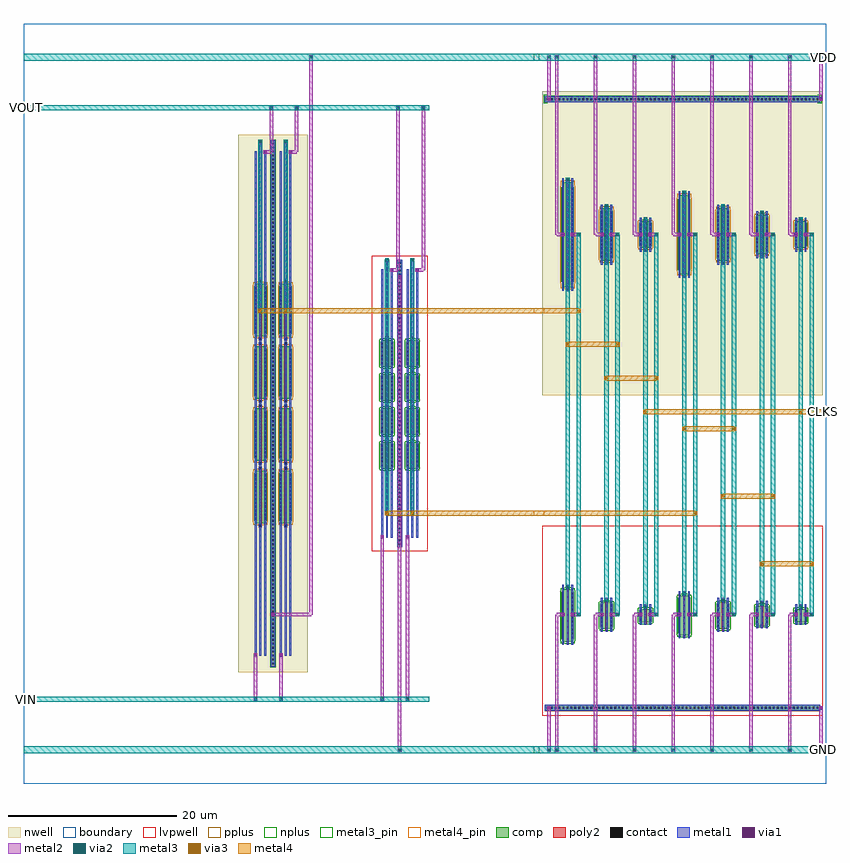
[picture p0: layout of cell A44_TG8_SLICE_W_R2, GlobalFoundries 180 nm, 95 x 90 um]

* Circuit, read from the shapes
.subckt A44_TG8_SLICE_W_R2 CLKS GND VDD VIN VOUT
XM1 VOUT A44_TG8_CLOCK_LEAF_W_R2_1/N_CLK VIN GND nfet_03v3 w=3.11u l=0.28u m=8
XM2 A44_TG8_CLOCK_LEAF_W_R2_1/P_CLK A44_TG8_CLOCK_LEAF_W_R2_1/net5 GND GND nfet_03v3 w=6.22u l=0.28u
XM3 A44_TG8_CLOCK_LEAF_W_R2_1/net5 A44_TG8_CLOCK_LEAF_W_R2_1/net4 GND GND nfet_03v3 w=3.11u l=0.28u
XM4 A44_TG8_CLOCK_LEAF_W_R2_1/net4 CLKS GND GND nfet_03v3 w=1.56u l=0.28u
XM5 A44_TG8_CLOCK_LEAF_W_R2_1/N_CLK A44_TG8_CLOCK_LEAF_W_R2_1/net3 GND GND nfet_03v3 w=4.67u l=0.28u
XM6 A44_TG8_CLOCK_LEAF_W_R2_1/net3 A44_TG8_CLOCK_LEAF_W_R2_1/net2 GND GND nfet_03v3 w=3.11u l=0.28u
XM7 A44_TG8_CLOCK_LEAF_W_R2_1/net2 A44_TG8_CLOCK_LEAF_W_R2_1/net1 GND GND nfet_03v3 w=2.34u l=0.28u
XM8 A44_TG8_CLOCK_LEAF_W_R2_1/net1 CLKS GND GND nfet_03v3 w=1.56u l=0.28u
XM9 VOUT A44_TG8_CLOCK_LEAF_W_R2_1/P_CLK VIN VDD pfet_03v3 w=6.22u l=0.28u m=8
XM10 A44_TG8_CLOCK_LEAF_W_R2_1/P_CLK A44_TG8_CLOCK_LEAF_W_R2_1/net5 VDD VDD pfet_03v3 w=12.44u l=0.28u
XM11 A44_TG8_CLOCK_LEAF_W_R2_1/net5 A44_TG8_CLOCK_LEAF_W_R2_1/net4 VDD VDD pfet_03v3 w=6.22u l=0.28u
XM12 A44_TG8_CLOCK_LEAF_W_R2_1/net4 CLKS VDD VDD pfet_03v3 w=3.11u l=0.28u
XM13 A44_TG8_CLOCK_LEAF_W_R2_1/N_CLK A44_TG8_CLOCK_LEAF_W_R2_1/net3 VDD VDD pfet_03v3 w=9.33u l=0.28u
XM14 A44_TG8_CLOCK_LEAF_W_R2_1/net3 A44_TG8_CLOCK_LEAF_W_R2_1/net2 VDD VDD pfet_03v3 w=6.22u l=0.28u
XM15 A44_TG8_CLOCK_LEAF_W_R2_1/net2 A44_TG8_CLOCK_LEAF_W_R2_1/net1 VDD VDD pfet_03v3 w=4.67u l=0.28u
XM16 A44_TG8_CLOCK_LEAF_W_R2_1/net1 CLKS VDD VDD pfet_03v3 w=3.11u l=0.28u
.ends

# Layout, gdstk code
import gdstk
lib = gdstk.Library(unit=1e-6, precision=1e-09)
def R(c, l, rs):  # rectangles x0, y0, x1, y1
    for r in rs: c.add(gdstk.rectangle(r[:2], r[2:], *l))
def A(c, l, x, y, w, h, nx, ny, dx, dy):  # array of equal rectangles
    R(c, l, [(x+i*dx, y+j*dy, x+i*dx+w, y+j*dy+h) for i in range(nx) for j in range(ny)])
boundary = (0, 0)
nwell = (21, 0)
comp = (22, 0)
poly2 = (30, 0)
pplus = (31, 0)
nplus = (32, 0)
contact = (33, 0)
metal1 = (34, 0)
via1 = (35, 0)
metal2 = (36, 0)
via2 = (38, 0)
via3 = (40, 0)
metal3 = (42, 0)
metal3_pin = (42, 10)
metal4 = (46, 0)
metal4_pin = (46, 10)
lvpwell = (204, 0)

nfet_03v3_sd8hjt = lib.new_cell('nfet_03v3_SD8HJT')
A(nfet_03v3_sd8hjt, comp, -0.74, -7.57, 1.48, 2.81, 1, 4, 0, 4.03)
R(nfet_03v3_sd8hjt, comp, [(-0.675,-7.72,0.675,-7.57), (-0.675,-4.76,0.675,-4.61), (-0.675,-3.69,0.675,-3.54), (-0.675,-0.73,0.675,-0.58), (-0.675,0.34,0.675,0.49), (-0.675,3.3,0.675,3.45), (-0.675,4.37,0.675,4.52), (-0.675,7.33,0.675,7.48)])
A(nfet_03v3_sd8hjt, poly2, -0.14, -7.94, 0.28, 3.43, 1, 4, 0, 4.03)
A(nfet_03v3_sd8hjt, poly2, -0.18, -4.51, 0.36, 0.36, 1, 4, 0, 4.03)
A(nfet_03v3_sd8hjt, nplus, -0.9, -7.73, 1.8, 3.13, 1, 4, 0, 4.03)
R(nfet_03v3_sd8hjt, nplus, [(-0.37,-7.95,0.37,-7.88), (-0.835,-7.88,0.835,-7.73), (-0.835,-4.6,0.835,-4.45), (-0.37,-4.45,0.37,-4.38), (-0.37,-3.92,0.37,-3.85), (-0.835,-3.85,0.835,-3.7), (-0.835,-0.57,0.835,-0.42), (-0.37,-0.42,0.37,-0.35), (-0.37,0.11,0.37,0.18), (-0.835,0.18,0.835,0.33), (-0.835,3.46,0.835,3.61), (-0.37,3.61,0.37,3.68), (-0.37,4.14,0.37,4.21), (-0.835,4.21,0.835,4.36), (-0.835,7.49,0.835,7.64), (-0.37,7.64,0.37,7.71)])
A(nfet_03v3_sd8hjt, contact, -0.67, -7.45, 0.22, 0.22, 1, 6, 0, 0.47)
A(nfet_03v3_sd8hjt, contact, 0.45, -7.45, 0.22, 0.22, 1, 6, 0, 0.47)
A(nfet_03v3_sd8hjt, contact, -0.11, -4.44, 0.22, 0.22, 1, 4, 0, 4.03)
A(nfet_03v3_sd8hjt, contact, -0.67, -3.42, 0.22, 0.22, 1, 6, 0, 0.47)
A(nfet_03v3_sd8hjt, contact, 0.45, -3.42, 0.22, 0.22, 1, 6, 0, 0.47)
A(nfet_03v3_sd8hjt, contact, -0.67, 0.61, 0.22, 0.22, 1, 6, 0, 0.47)
A(nfet_03v3_sd8hjt, contact, 0.45, 0.61, 0.22, 0.22, 1, 6, 0, 0.47)
A(nfet_03v3_sd8hjt, contact, -0.67, 4.64, 0.22, 0.22, 1, 6, 0, 0.47)
A(nfet_03v3_sd8hjt, contact, 0.45, 4.64, 0.22, 0.22, 1, 6, 0, 0.47)
A(nfet_03v3_sd8hjt, metal1, -0.675, -7.56, 0.23, 2.79, 1, 4, 0, 4.03)
A(nfet_03v3_sd8hjt, metal1, 0.445, -7.56, 0.23, 2.79, 1, 4, 0, 4.03)
A(nfet_03v3_sd8hjt, metal1, -0.17, -4.445, 0.34, 0.23, 1, 4, 0, 4.03)
R(nfet_03v3_sd8hjt, lvpwell, [(-0.86,-8.06,0.86,8.06)])

pfet_03v3_c2l3t7 = lib.new_cell('pfet_03v3_C2L3T7')
R(pfet_03v3_c2l3t7, nwell, [(-1.17,-15.07,1.17,15.07)])
A(pfet_03v3_c2l3t7, comp, -0.74, -13.875, 1.48, 5.61, 1, 4, 0, 7.38)
R(pfet_03v3_c2l3t7, comp, [(-0.675,-14.18,0.675,-13.875), (-0.675,-8.265,0.675,-7.96), (-0.675,-6.8,0.675,-6.495), (-0.675,-0.885,0.675,-0.58), (-0.675,0.58,0.675,0.885), (-0.675,6.495,0.675,6.8), (-0.675,7.96,0.675,8.265), (-0.675,13.875,0.675,14.18)])
A(pfet_03v3_c2l3t7, poly2, -0.14, -14.28, 0.28, 6.42, 1, 4, 0, 7.38)
R(pfet_03v3_c2l3t7, poly2, [(-0.18,-14.64,0.18,-14.28), (-0.18,-7.86,0.18,-7.5), (-0.18,-7.26,0.18,-6.9), (-0.18,-0.48,0.18,-0.12), (-0.18,0.12,0.18,0.48), (-0.18,6.9,0.18,7.26), (-0.18,7.5,0.18,7.86), (-0.18,14.28,0.18,14.64)])
A(pfet_03v3_c2l3t7, pplus, -0.9, -14.035, 1.8, 5.93, 1, 4, 0, 7.38)
R(pfet_03v3_c2l3t7, pplus, [(-0.37,-14.41,0.37,-14.34), (-0.835,-14.34,0.835,-14.035), (-0.835,-8.105,0.835,-7.8), (-0.37,-7.8,0.37,-7.73), (-0.37,-7.03,0.37,-6.96), (-0.835,-6.96,0.835,-6.655), (-0.835,-0.725,0.835,-0.42), (-0.37,-0.42,0.37,-0.35), (-0.37,0.35,0.37,0.42), (-0.835,0.42,0.835,0.725), (-0.835,6.655,0.835,6.96), (-0.37,6.96,0.37,7.03), (-0.37,7.73,0.37,7.8), (-0.835,7.8,0.835,8.105), (-0.835,14.035,0.835,14.34), (-0.37,14.34,0.37,14.41)])
A(pfet_03v3_c2l3t7, contact, -0.67, -13.765, 0.22, 0.22, 1, 12, 0, 0.47)
A(pfet_03v3_c2l3t7, contact, 0.45, -13.765, 0.22, 0.22, 1, 12, 0, 0.47)
A(pfet_03v3_c2l3t7, contact, -0.67, -6.385, 0.22, 0.22, 1, 12, 0, 0.47)
A(pfet_03v3_c2l3t7, contact, 0.45, -6.385, 0.22, 0.22, 1, 12, 0, 0.47)
A(pfet_03v3_c2l3t7, contact, -0.67, 0.995, 0.22, 0.22, 1, 12, 0, 0.47)
A(pfet_03v3_c2l3t7, contact, 0.45, 0.995, 0.22, 0.22, 1, 12, 0, 0.47)
A(pfet_03v3_c2l3t7, contact, -0.67, 8.375, 0.22, 0.22, 1, 12, 0, 0.47)
A(pfet_03v3_c2l3t7, contact, 0.45, 8.375, 0.22, 0.22, 1, 12, 0, 0.47)
R(pfet_03v3_c2l3t7, contact, [(-0.11,-14.57,0.11,-14.35), (-0.11,-7.79,0.11,-7.57), (-0.11,-7.19,0.11,-6.97), (-0.11,-0.41,0.11,-0.19), (-0.11,0.19,0.11,0.41), (-0.11,6.97,0.11,7.19), (-0.11,7.57,0.11,7.79), (-0.11,14.35,0.11,14.57)])
A(pfet_03v3_c2l3t7, metal1, -0.675, -13.865, 0.23, 5.59, 1, 4, 0, 7.38)
A(pfet_03v3_c2l3t7, metal1, 0.445, -13.865, 0.23, 5.59, 1, 4, 0, 7.38)
R(pfet_03v3_c2l3t7, metal1, [(-0.17,-14.575,0.17,-14.345), (-0.17,-7.795,0.17,-7.565), (-0.17,-7.195,0.17,-6.965), (-0.17,-0.415,0.17,-0.185), (-0.17,0.185,0.17,0.415), (-0.17,6.965,0.17,7.195), (-0.17,7.565,0.17,7.795), (-0.17,14.345,0.17,14.575)])

a44_tg8_core_w_r2 = lib.new_cell('A44_TG8_CORE_W_R2')
R(a44_tg8_core_w_r2, boundary, [(0,0,61,90)])
R(a44_tg8_core_w_r2, nwell, [(25.4,13.2,33.6,76.8)])
R(a44_tg8_core_w_r2, comp, [(29.22,13.8,29.78,76.2), (44.22,28,44.78,62)])
R(a44_tg8_core_w_r2, pplus, [(44.195,27.975,44.805,62.025)])
R(a44_tg8_core_w_r2, nplus, [(29.195,13.775,29.805,76.225)])
A(a44_tg8_core_w_r2, contact, 29.39, 14.105, 0.22, 0.22, 1, 132, 0, 0.47)
A(a44_tg8_core_w_r2, contact, 44.39, 28.205, 0.22, 0.22, 1, 72, 0, 0.47)
R(a44_tg8_core_w_r2, metal1, [(29.22,13.8,29.78,76.2), (27.24,15,27.64,15.4), (30.24,15,30.64,15.4), (27.885,15.1,28.115,75.8), (28.445,15.1,28.675,74.6), (30.885,15.1,31.115,75.8), (31.445,15.1,31.675,74.6), (27.325,15.4,27.555,74.9), (30.325,15.4,30.555,74.9), (44.22,28,44.78,62), (42.24,29,42.64,29.4), (45.24,29,45.64,29.4), (42.885,29.1,43.115,61.8), (43.445,29.1,43.675,60.6), (45.885,29.1,46.115,61.8), (46.445,29.1,46.675,60.6), (42.325,29.4,42.555,60.9), (45.325,29.4,45.555,60.9), (43.36,60.6,43.76,61), (46.36,60.6,46.76,61), (42.8,61.8,43.2,62.2), (45.8,61.8,46.2,62.2), (28.36,74.6,28.76,75), (31.36,74.6,31.76,75), (27.8,75.8,28.2,76.2), (30.8,75.8,31.2,76.2)])
R(a44_tg8_core_w_r2, via1, [(27.31,15.07,27.57,15.33), (30.31,15.07,30.57,15.33), (29.37,19.87,29.63,20.13), (42.31,29.07,42.57,29.33), (45.31,29.07,45.57,29.33), (44.37,59.87,44.63,60.13), (43.43,60.67,43.69,60.93), (46.43,60.67,46.69,60.93), (42.87,61.87,43.13,62.13), (45.87,61.87,46.13,62.13), (28.43,74.67,28.69,74.93), (31.43,74.67,31.69,74.93), (27.87,75.87,28.13,76.13), (30.87,75.87,31.13,76.13)])
R(a44_tg8_core_w_r2, metal2, [(44.28,3.78,44.72,4.22), (44.3,4.22,44.7,60.2), (27.22,9.78,27.66,10.22), (30.22,9.78,30.66,10.22), (42.22,9.78,42.66,10.22), (45.22,9.78,45.66,10.22), (27.24,10.22,27.64,15.4), (30.24,10.22,30.64,15.4), (42.24,10.22,42.64,29.4), (45.24,10.22,45.64,29.4), (29.3,19.8,34,20), (29.3,20,34.2,20.2), (33.8,20.2,34.2,85.78), (43.36,60.6,44.3,60.8), (46.36,60.6,47.3,60.8), (43.36,60.8,44.5,61), (46.36,60.8,47.5,61), (44.1,61,44.5,79.78), (47.1,61,47.5,79.78), (42.78,61.78,43.22,62.22), (45.78,61.78,46.22,62.22), (28.36,74.6,29.3,74.8), (31.36,74.6,32.3,74.8), (28.36,74.8,29.5,75), (31.36,74.8,32.5,75), (29.1,75,29.5,79.78), (32.1,75,32.5,79.78), (27.78,75.78,28.22,76.22), (30.78,75.78,31.22,76.22), (29.08,79.78,29.52,80.22), (32.08,79.78,32.52,80.22), (44.08,79.78,44.52,80.22), (47.08,79.78,47.52,80.22), (33.78,85.78,34.22,86.22)])
R(a44_tg8_core_w_r2, via2, [(44.37,3.87,44.63,4.13), (27.31,9.87,27.57,10.13), (30.31,9.87,30.57,10.13), (42.31,9.87,42.57,10.13), (45.31,9.87,45.57,10.13), (42.87,61.87,43.13,62.13), (45.87,61.87,46.13,62.13), (27.87,75.87,28.13,76.13), (30.87,75.87,31.13,76.13), (29.17,79.87,29.43,80.13), (32.17,79.87,32.43,80.13), (44.17,79.87,44.43,80.13), (47.17,79.87,47.43,80.13), (33.87,85.87,34.13,86.13)])
R(a44_tg8_core_w_r2, via3, [(42.87,31.87,43.13,32.13), (45.87,31.87,46.13,32.13), (27.87,55.87,28.13,56.13), (30.87,55.87,31.13,56.13)])
R(a44_tg8_core_w_r2, metal3, [(0,3.6,61,4.4), (0,9.7,48,10.3), (42.75,31.75,43.25,62), (45.75,31.75,46.25,62), (27.75,55.75,28.25,76), (30.75,55.75,31.25,76), (42.78,62,43.22,62.22), (45.78,62,46.22,62.22), (27.78,76,28.22,76.22), (30.78,76,31.22,76.22), (0,79.7,48,80.3), (0,85.6,61,86.4)])
R(a44_tg8_core_w_r2, metal3_pin, [(60.4,3.6,61,4.4), (0,9.7,0.6,10.3), (0,79.7,0.6,80.3), (60.4,85.6,61,86.4)])
R(a44_tg8_core_w_r2, metal4, [(43,31.7,61,31.75), (42.75,31.75,61,32.25), (43,32.25,61,32.3), (28,55.7,61,55.75), (27.75,55.75,61,56.25), (28,56.25,61,56.3)])
R(a44_tg8_core_w_r2, metal4_pin, [(60.4,31.7,61,32.3), (60.4,55.7,61,56.3)])
R(a44_tg8_core_w_r2, lvpwell, [(41.2,27.5,47.8,62.5)])
a44_tg8_core_w_r2.add(gdstk.Reference(nfet_03v3_sd8hjt, (43,45)))
a44_tg8_core_w_r2.add(gdstk.Reference(nfet_03v3_sd8hjt, (46,45)))
a44_tg8_core_w_r2.add(gdstk.Reference(pfet_03v3_c2l3t7, (28,45)))
a44_tg8_core_w_r2.add(gdstk.Reference(pfet_03v3_c2l3t7, (31,45)))
a44_tg8_core_w_r2.add(gdstk.Label('VDD', (60.7,86), layer=42, texttype=10))
a44_tg8_core_w_r2.add(gdstk.Label('GND', (60.7,4), layer=42, texttype=10))
a44_tg8_core_w_r2.add(gdstk.Label('VOUT', (0.3,80), layer=42, texttype=10))
a44_tg8_core_w_r2.add(gdstk.Label('VIN', (0.3,10), layer=42, texttype=10))
a44_tg8_core_w_r2.add(gdstk.Label('N_CLK', (60.7,32), layer=46, texttype=10))
a44_tg8_core_w_r2.add(gdstk.Label('P_CLK', (60.7,56), layer=46, texttype=10))

nfet_03v3_e6gd2a = lib.new_cell('nfet_03v3_E6GD2A')
R(nfet_03v3_e6gd2a, comp, [(-0.675,-0.9,0.675,-0.83), (-0.74,-0.83,0.74,0.59), (-0.675,0.59,0.675,0.66)])
R(nfet_03v3_e6gd2a, poly2, [(-0.14,-1.12,0.14,0.76), (-0.18,0.76,0.18,1.12)])
R(nfet_03v3_e6gd2a, nplus, [(-0.37,-1.13,0.37,-1.06), (-0.835,-1.06,0.835,-0.99), (-0.9,-0.99,0.9,0.75), (-0.835,0.75,0.835,0.82), (-0.37,0.82,0.37,0.89)])
A(nfet_03v3_e6gd2a, contact, -0.67, -0.7, 0.22, 0.22, 1, 3, 0, 0.47)
A(nfet_03v3_e6gd2a, contact, 0.45, -0.7, 0.22, 0.22, 1, 3, 0, 0.47)
R(nfet_03v3_e6gd2a, contact, [(-0.11,0.83,0.11,1.05)])
R(nfet_03v3_e6gd2a, metal1, [(-0.675,-0.82,-0.445,0.58), (0.445,-0.82,0.675,0.58), (-0.17,0.825,0.17,1.055)])
R(nfet_03v3_e6gd2a, lvpwell, [(-0.86,-1.24,0.86,1.24)])

nfet_03v3_vfkxem = lib.new_cell('nfet_03v3_VFKXEM')
R(nfet_03v3_vfkxem, comp, [(-0.675,-1.675,0.675,-1.525), (-0.74,-1.525,0.74,1.285), (-0.675,1.285,0.675,1.435)])
R(nfet_03v3_vfkxem, poly2, [(-0.14,-1.895,0.14,1.535), (-0.18,1.535,0.18,1.895)])
R(nfet_03v3_vfkxem, nplus, [(-0.37,-1.905,0.37,-1.835), (-0.835,-1.835,0.835,-1.685), (-0.9,-1.685,0.9,1.445), (-0.835,1.445,0.835,1.595), (-0.37,1.595,0.37,1.665)])
A(nfet_03v3_vfkxem, contact, -0.67, -1.405, 0.22, 0.22, 1, 6, 0, 0.47)
A(nfet_03v3_vfkxem, contact, 0.45, -1.405, 0.22, 0.22, 1, 6, 0, 0.47)
R(nfet_03v3_vfkxem, contact, [(-0.11,1.605,0.11,1.825)])
R(nfet_03v3_vfkxem, metal1, [(-0.675,-1.515,-0.445,1.275), (0.445,-1.515,0.675,1.275), (-0.17,1.6,0.17,1.83)])
R(nfet_03v3_vfkxem, lvpwell, [(-0.86,-2.015,0.86,2.015)])

nfet_03v3_6lx9qf = lib.new_cell('nfet_03v3_6LX9QF')
R(nfet_03v3_6lx9qf, comp, [(-0.675,-3.23,0.675,-2.925), (-0.675,-3.23,0.675,-2.925), (-0.74,-2.925,0.74,2.685), (-0.74,-2.925,0.74,2.685), (-0.675,2.685,0.675,2.99), (-0.675,2.685,0.675,2.99)])
R(nfet_03v3_6lx9qf, poly2, [(-0.14,-3.45,0.14,3.09), (-0.14,-3.45,0.14,3.09), (-0.18,3.09,0.18,3.45), (-0.18,3.09,0.18,3.45)])
R(nfet_03v3_6lx9qf, nplus, [(-0.37,-3.46,0.37,-3.39), (-0.37,-3.46,0.37,-3.39), (-0.835,-3.39,0.835,-3.085), (-0.835,-3.39,0.835,-3.085), (-0.9,-3.085,0.9,2.845), (-0.9,-3.085,0.9,2.845), (-0.835,2.845,0.835,3.15), (-0.835,2.845,0.835,3.15), (-0.37,3.15,0.37,3.22), (-0.37,3.15,0.37,3.22)])
R(nfet_03v3_6lx9qf, contact, [(-0.67,-2.815,-0.45,-2.595), (-0.67,-2.815,-0.45,-2.595), (0.45,-2.815,0.67,-2.595), (0.45,-2.815,0.67,-2.595), (-0.67,-2.345,-0.45,-2.125), (-0.67,-2.345,-0.45,-2.125), (0.45,-2.345,0.67,-2.125), (0.45,-2.345,0.67,-2.125), (-0.67,-1.875,-0.45,-1.655), (-0.67,-1.875,-0.45,-1.655), (0.45,-1.875,0.67,-1.655), (0.45,-1.875,0.67,-1.655), (-0.67,-1.405,-0.45,-1.185), (-0.67,-1.405,-0.45,-1.185), (0.45,-1.405,0.67,-1.185), (0.45,-1.405,0.67,-1.185), (-0.67,-0.935,-0.45,-0.715), (-0.67,-0.935,-0.45,-0.715), (0.45,-0.935,0.67,-0.715), (0.45,-0.935,0.67,-0.715), (-0.67,-0.465,-0.45,-0.245), (-0.67,-0.465,-0.45,-0.245), (0.45,-0.465,0.67,-0.245), (0.45,-0.465,0.67,-0.245), (-0.67,0.005,-0.45,0.225), (-0.67,0.005,-0.45,0.225), (0.45,0.005,0.67,0.225), (0.45,0.005,0.67,0.225), (-0.67,0.475,-0.45,0.695), (-0.67,0.475,-0.45,0.695), (0.45,0.475,0.67,0.695), (0.45,0.475,0.67,0.695), (-0.67,0.945,-0.45,1.165), (-0.67,0.945,-0.45,1.165), (0.45,0.945,0.67,1.165), (0.45,0.945,0.67,1.165), (-0.67,1.415,-0.45,1.635), (-0.67,1.415,-0.45,1.635), (0.45,1.415,0.67,1.635), (0.45,1.415,0.67,1.635), (-0.67,1.885,-0.45,2.105), (-0.67,1.885,-0.45,2.105), (0.45,1.885,0.67,2.105), (0.45,1.885,0.67,2.105), (-0.67,2.355,-0.45,2.575), (-0.67,2.355,-0.45,2.575), (0.45,2.355,0.67,2.575), (0.45,2.355,0.67,2.575), (-0.11,3.16,0.11,3.38), (-0.11,3.16,0.11,3.38)])
R(nfet_03v3_6lx9qf, metal1, [(-0.675,-2.915,-0.445,2.675), (-0.675,-2.915,-0.445,2.675), (0.445,-2.915,0.675,2.675), (0.445,-2.915,0.675,2.675), (-0.17,3.155,0.17,3.385), (-0.17,3.155,0.17,3.385)])
R(nfet_03v3_6lx9qf, lvpwell, [(-0.86,-3.57,0.86,3.57), (-0.86,-3.57,0.86,3.57)])

nfet_03v3_w4ua4g = lib.new_cell('nfet_03v3_W4UA4G')
R(nfet_03v3_w4ua4g, comp, [(-0.675,-2.455,0.675,-2.23), (-0.74,-2.23,0.74,1.99), (-0.675,1.99,0.675,2.215)])
R(nfet_03v3_w4ua4g, poly2, [(-0.14,-2.675,0.14,2.315), (-0.18,2.315,0.18,2.675)])
R(nfet_03v3_w4ua4g, nplus, [(-0.37,-2.685,0.37,-2.615), (-0.835,-2.615,0.835,-2.39), (-0.9,-2.39,0.9,2.15), (-0.835,2.15,0.835,2.375), (-0.37,2.375,0.37,2.445)])
A(nfet_03v3_w4ua4g, contact, -0.67, -2.11, 0.22, 0.22, 1, 9, 0, 0.47)
A(nfet_03v3_w4ua4g, contact, 0.45, -2.11, 0.22, 0.22, 1, 9, 0, 0.47)
R(nfet_03v3_w4ua4g, contact, [(-0.11,2.385,0.11,2.605)])
R(nfet_03v3_w4ua4g, metal1, [(-0.675,-2.22,-0.445,1.98), (0.445,-2.22,0.675,1.98), (-0.17,2.38,0.17,2.61)])
R(nfet_03v3_w4ua4g, lvpwell, [(-0.86,-2.795,0.86,2.795)])

nfet_03v3_whe5hu = lib.new_cell('nfet_03v3_WHE5HU')
R(nfet_03v3_whe5hu, comp, [(-0.675,-1.29,0.675,-1.18), (-0.675,-1.29,0.675,-1.18), (-0.74,-1.18,0.74,0.94), (-0.74,-1.18,0.74,0.94), (-0.675,0.94,0.675,1.05), (-0.675,0.94,0.675,1.05)])
R(nfet_03v3_whe5hu, poly2, [(-0.14,-1.51,0.14,1.15), (-0.14,-1.51,0.14,1.15), (-0.18,1.15,0.18,1.51), (-0.18,1.15,0.18,1.51)])
R(nfet_03v3_whe5hu, nplus, [(-0.37,-1.52,0.37,-1.45), (-0.37,-1.52,0.37,-1.45), (-0.835,-1.45,0.835,-1.34), (-0.835,-1.45,0.835,-1.34), (-0.9,-1.34,0.9,1.1), (-0.9,-1.34,0.9,1.1), (-0.835,1.1,0.835,1.21), (-0.835,1.1,0.835,1.21), (-0.37,1.21,0.37,1.28), (-0.37,1.21,0.37,1.28)])
R(nfet_03v3_whe5hu, contact, [(-0.67,-0.935,-0.45,-0.715), (-0.67,-0.935,-0.45,-0.715), (0.45,-0.935,0.67,-0.715), (0.45,-0.935,0.67,-0.715), (-0.67,-0.465,-0.45,-0.245), (-0.67,-0.465,-0.45,-0.245), (0.45,-0.465,0.67,-0.245), (0.45,-0.465,0.67,-0.245), (-0.67,0.005,-0.45,0.225), (-0.67,0.005,-0.45,0.225), (0.45,0.005,0.67,0.225), (0.45,0.005,0.67,0.225), (-0.67,0.475,-0.45,0.695), (-0.67,0.475,-0.45,0.695), (0.45,0.475,0.67,0.695), (0.45,0.475,0.67,0.695), (-0.11,1.22,0.11,1.44), (-0.11,1.22,0.11,1.44)])
R(nfet_03v3_whe5hu, metal1, [(-0.675,-1.17,-0.445,0.93), (-0.675,-1.17,-0.445,0.93), (0.445,-1.17,0.675,0.93), (0.445,-1.17,0.675,0.93), (-0.17,1.215,0.17,1.445), (-0.17,1.215,0.17,1.445)])
R(nfet_03v3_whe5hu, lvpwell, [(-0.86,-1.63,0.86,1.63), (-0.86,-1.63,0.86,1.63)])

pfet_03v3_8rs7kv = lib.new_cell('pfet_03v3_8RS7KV')
R(pfet_03v3_8rs7kv, nwell, [(-1.17,-7.11,1.17,7.11), (-1.17,-7.11,1.17,7.11)])
R(pfet_03v3_8rs7kv, comp, [(-0.675,-6.22,0.675,-5.605), (-0.675,-6.22,0.675,-5.605), (-0.74,-5.605,0.74,5.605), (-0.74,-5.605,0.74,5.605), (-0.675,5.605,0.675,6.22), (-0.675,5.605,0.675,6.22)])
R(pfet_03v3_8rs7kv, poly2, [(-0.18,-6.68,0.18,-6.32), (-0.18,-6.68,0.18,-6.32), (-0.14,-6.32,0.14,6.32), (-0.14,-6.32,0.14,6.32), (-0.18,6.32,0.18,6.68), (-0.18,6.32,0.18,6.68)])
R(pfet_03v3_8rs7kv, pplus, [(-0.37,-6.45,0.37,-6.38), (-0.37,-6.45,0.37,-6.38), (-0.835,-6.38,0.835,-5.765), (-0.835,-6.38,0.835,-5.765), (-0.9,-5.765,0.9,5.765), (-0.9,-5.765,0.9,5.765), (-0.835,5.765,0.835,6.38), (-0.835,5.765,0.835,6.38), (-0.37,6.38,0.37,6.45), (-0.37,6.38,0.37,6.45)])
R(pfet_03v3_8rs7kv, contact, [(-0.11,-6.61,0.11,-6.39), (-0.11,-6.61,0.11,-6.39), (-0.67,-5.515,-0.45,-5.295), (-0.67,-5.515,-0.45,-5.295), (0.45,-5.515,0.67,-5.295), (0.45,-5.515,0.67,-5.295), (-0.67,-5.045,-0.45,-4.825), (-0.67,-5.045,-0.45,-4.825), (0.45,-5.045,0.67,-4.825), (0.45,-5.045,0.67,-4.825), (-0.67,-4.575,-0.45,-4.355), (-0.67,-4.575,-0.45,-4.355), (0.45,-4.575,0.67,-4.355), (0.45,-4.575,0.67,-4.355), (-0.67,-4.105,-0.45,-3.885), (-0.67,-4.105,-0.45,-3.885), (0.45,-4.105,0.67,-3.885), (0.45,-4.105,0.67,-3.885), (-0.67,-3.635,-0.45,-3.415), (-0.67,-3.635,-0.45,-3.415), (0.45,-3.635,0.67,-3.415), (0.45,-3.635,0.67,-3.415), (-0.67,-3.165,-0.45,-2.945), (-0.67,-3.165,-0.45,-2.945), (0.45,-3.165,0.67,-2.945), (0.45,-3.165,0.67,-2.945), (-0.67,-2.695,-0.45,-2.475), (-0.67,-2.695,-0.45,-2.475), (0.45,-2.695,0.67,-2.475), (0.45,-2.695,0.67,-2.475), (-0.67,-2.225,-0.45,-2.005), (-0.67,-2.225,-0.45,-2.005), (0.45,-2.225,0.67,-2.005), (0.45,-2.225,0.67,-2.005), (-0.67,-1.755,-0.45,-1.535), (-0.67,-1.755,-0.45,-1.535), (0.45,-1.755,0.67,-1.535), (0.45,-1.755,0.67,-1.535), (-0.67,-1.285,-0.45,-1.065), (-0.67,-1.285,-0.45,-1.065), (0.45,-1.285,0.67,-1.065), (0.45,-1.285,0.67,-1.065), (-0.67,-0.815,-0.45,-0.595), (-0.67,-0.815,-0.45,-0.595), (0.45,-0.815,0.67,-0.595), (0.45,-0.815,0.67,-0.595), (-0.67,-0.345,-0.45,-0.125), (-0.67,-0.345,-0.45,-0.125), (0.45,-0.345,0.67,-0.125), (0.45,-0.345,0.67,-0.125), (-0.67,0.125,-0.45,0.345), (-0.67,0.125,-0.45,0.345), (0.45,0.125,0.67,0.345), (0.45,0.125,0.67,0.345), (-0.67,0.595,-0.45,0.815), (-0.67,0.595,-0.45,0.815), (0.45,0.595,0.67,0.815), (0.45,0.595,0.67,0.815), (-0.67,1.065,-0.45,1.285), (-0.67,1.065,-0.45,1.285), (0.45,1.065,0.67,1.285), (0.45,1.065,0.67,1.285), (-0.67,1.535,-0.45,1.755), (-0.67,1.535,-0.45,1.755), (0.45,1.535,0.67,1.755), (0.45,1.535,0.67,1.755), (-0.67,2.005,-0.45,2.225), (-0.67,2.005,-0.45,2.225), (0.45,2.005,0.67,2.225), (0.45,2.005,0.67,2.225), (-0.67,2.475,-0.45,2.695), (-0.67,2.475,-0.45,2.695), (0.45,2.475,0.67,2.695), (0.45,2.475,0.67,2.695), (-0.67,2.945,-0.45,3.165), (-0.67,2.945,-0.45,3.165), (0.45,2.945,0.67,3.165), (0.45,2.945,0.67,3.165), (-0.67,3.415,-0.45,3.635), (-0.67,3.415,-0.45,3.635), (0.45,3.415,0.67,3.635), (0.45,3.415,0.67,3.635), (-0.67,3.885,-0.45,4.105), (-0.67,3.885,-0.45,4.105), (0.45,3.885,0.67,4.105), (0.45,3.885,0.67,4.105), (-0.67,4.355,-0.45,4.575), (-0.67,4.355,-0.45,4.575), (0.45,4.355,0.67,4.575), (0.45,4.355,0.67,4.575), (-0.67,4.825,-0.45,5.045), (-0.67,4.825,-0.45,5.045), (0.45,4.825,0.67,5.045), (0.45,4.825,0.67,5.045), (-0.67,5.295,-0.45,5.515), (-0.67,5.295,-0.45,5.515), (0.45,5.295,0.67,5.515), (0.45,5.295,0.67,5.515), (-0.11,6.39,0.11,6.61), (-0.11,6.39,0.11,6.61)])
R(pfet_03v3_8rs7kv, metal1, [(-0.17,-6.615,0.17,-6.385), (-0.17,-6.615,0.17,-6.385), (-0.675,-5.595,-0.445,5.595), (-0.675,-5.595,-0.445,5.595), (0.445,-5.595,0.675,5.595), (0.445,-5.595,0.675,5.595), (-0.17,6.385,0.17,6.615), (-0.17,6.385,0.17,6.615)])

pfet_03v3_ru7dmy = lib.new_cell('pfet_03v3_RU7DMY')
R(pfet_03v3_ru7dmy, nwell, [(-1.17,-2.445,1.17,2.445)])
R(pfet_03v3_ru7dmy, comp, [(-0.675,-1.555,0.675,-1.405), (-0.74,-1.405,0.74,1.405), (-0.675,1.405,0.675,1.555)])
R(pfet_03v3_ru7dmy, poly2, [(-0.18,-2.015,0.18,-1.655), (-0.14,-1.655,0.14,1.655), (-0.18,1.655,0.18,2.015)])
R(pfet_03v3_ru7dmy, pplus, [(-0.37,-1.785,0.37,-1.715), (-0.835,-1.715,0.835,-1.565), (-0.9,-1.565,0.9,1.565), (-0.835,1.565,0.835,1.715), (-0.37,1.715,0.37,1.785)])
A(pfet_03v3_ru7dmy, contact, -0.67, -1.285, 0.22, 0.22, 1, 6, 0, 0.47)
A(pfet_03v3_ru7dmy, contact, 0.45, -1.285, 0.22, 0.22, 1, 6, 0, 0.47)
R(pfet_03v3_ru7dmy, contact, [(-0.11,-1.945,0.11,-1.725), (-0.11,1.725,0.11,1.945)])
R(pfet_03v3_ru7dmy, metal1, [(-0.17,-1.95,0.17,-1.72), (-0.675,-1.395,-0.445,1.395), (0.445,-1.395,0.675,1.395), (-0.17,1.72,0.17,1.95)])

pfet_03v3_9zjpmw = lib.new_cell('pfet_03v3_9ZJPMW')
R(pfet_03v3_9zjpmw, nwell, [(-1.17,-4,1.17,4)])
R(pfet_03v3_9zjpmw, comp, [(-0.675,-3.11,0.675,-2.805), (-0.74,-2.805,0.74,2.805), (-0.675,2.805,0.675,3.11)])
R(pfet_03v3_9zjpmw, poly2, [(-0.18,-3.57,0.18,-3.21), (-0.14,-3.21,0.14,3.21), (-0.18,3.21,0.18,3.57)])
R(pfet_03v3_9zjpmw, pplus, [(-0.37,-3.34,0.37,-3.27), (-0.835,-3.27,0.835,-2.965), (-0.9,-2.965,0.9,2.965), (-0.835,2.965,0.835,3.27), (-0.37,3.27,0.37,3.34)])
A(pfet_03v3_9zjpmw, contact, -0.67, -2.695, 0.22, 0.22, 1, 12, 0, 0.47)
A(pfet_03v3_9zjpmw, contact, 0.45, -2.695, 0.22, 0.22, 1, 12, 0, 0.47)
R(pfet_03v3_9zjpmw, contact, [(-0.11,-3.5,0.11,-3.28), (-0.11,3.28,0.11,3.5)])
R(pfet_03v3_9zjpmw, metal1, [(-0.17,-3.505,0.17,-3.275), (-0.675,-2.795,-0.445,2.795), (0.445,-2.795,0.675,2.795), (-0.17,3.275,0.17,3.505)])

pfet_03v3_53fb9w = lib.new_cell('pfet_03v3_53FB9W')
R(pfet_03v3_53fb9w, nwell, [(-1.17,-5.555,1.17,5.555)])
R(pfet_03v3_53fb9w, comp, [(-0.675,-4.665,0.675,-4.205), (-0.74,-4.205,0.74,4.205), (-0.675,4.205,0.675,4.665)])
R(pfet_03v3_53fb9w, poly2, [(-0.18,-5.125,0.18,-4.765), (-0.14,-4.765,0.14,4.765), (-0.18,4.765,0.18,5.125)])
R(pfet_03v3_53fb9w, pplus, [(-0.37,-4.895,0.37,-4.825), (-0.835,-4.825,0.835,-4.365), (-0.9,-4.365,0.9,4.365), (-0.835,4.365,0.835,4.825), (-0.37,4.825,0.37,4.895)])
A(pfet_03v3_53fb9w, contact, -0.67, -4.105, 0.22, 0.22, 1, 18, 0, 0.47)
A(pfet_03v3_53fb9w, contact, 0.45, -4.105, 0.22, 0.22, 1, 18, 0, 0.47)
R(pfet_03v3_53fb9w, contact, [(-0.11,-5.055,0.11,-4.835), (-0.11,4.835,0.11,5.055)])
R(pfet_03v3_53fb9w, metal1, [(-0.17,-5.06,0.17,-4.83), (-0.675,-4.195,-0.445,4.195), (0.445,-4.195,0.675,4.195), (-0.17,4.83,0.17,5.06)])

pfet_03v3_gxth48 = lib.new_cell('pfet_03v3_GXTH48')
R(pfet_03v3_gxth48, nwell, [(-1.17,-3.225,1.17,3.225), (-1.17,-3.225,1.17,3.225)])
R(pfet_03v3_gxth48, comp, [(-0.675,-2.335,0.675,-2.11), (-0.675,-2.335,0.675,-2.11), (-0.74,-2.11,0.74,2.11), (-0.74,-2.11,0.74,2.11), (-0.675,2.11,0.675,2.335), (-0.675,2.11,0.675,2.335)])
R(pfet_03v3_gxth48, poly2, [(-0.18,-2.795,0.18,-2.435), (-0.18,-2.795,0.18,-2.435), (-0.14,-2.435,0.14,2.435), (-0.14,-2.435,0.14,2.435), (-0.18,2.435,0.18,2.795), (-0.18,2.435,0.18,2.795)])
R(pfet_03v3_gxth48, pplus, [(-0.37,-2.565,0.37,-2.495), (-0.37,-2.565,0.37,-2.495), (-0.835,-2.495,0.835,-2.27), (-0.835,-2.495,0.835,-2.27), (-0.9,-2.27,0.9,2.27), (-0.9,-2.27,0.9,2.27), (-0.835,2.27,0.835,2.495), (-0.835,2.27,0.835,2.495), (-0.37,2.495,0.37,2.565), (-0.37,2.495,0.37,2.565)])
R(pfet_03v3_gxth48, contact, [(-0.11,-2.725,0.11,-2.505), (-0.11,-2.725,0.11,-2.505), (-0.67,-1.99,-0.45,-1.77), (-0.67,-1.99,-0.45,-1.77), (0.45,-1.99,0.67,-1.77), (0.45,-1.99,0.67,-1.77), (-0.67,-1.52,-0.45,-1.3), (-0.67,-1.52,-0.45,-1.3), (0.45,-1.52,0.67,-1.3), (0.45,-1.52,0.67,-1.3), (-0.67,-1.05,-0.45,-0.83), (-0.67,-1.05,-0.45,-0.83), (0.45,-1.05,0.67,-0.83), (0.45,-1.05,0.67,-0.83), (-0.67,-0.58,-0.45,-0.36), (-0.67,-0.58,-0.45,-0.36), (0.45,-0.58,0.67,-0.36), (0.45,-0.58,0.67,-0.36), (-0.67,-0.11,-0.45,0.11), (-0.67,-0.11,-0.45,0.11), (0.45,-0.11,0.67,0.11), (0.45,-0.11,0.67,0.11), (-0.67,0.36,-0.45,0.58), (-0.67,0.36,-0.45,0.58), (0.45,0.36,0.67,0.58), (0.45,0.36,0.67,0.58), (-0.67,0.83,-0.45,1.05), (-0.67,0.83,-0.45,1.05), (0.45,0.83,0.67,1.05), (0.45,0.83,0.67,1.05), (-0.67,1.3,-0.45,1.52), (-0.67,1.3,-0.45,1.52), (0.45,1.3,0.67,1.52), (0.45,1.3,0.67,1.52), (-0.67,1.77,-0.45,1.99), (-0.67,1.77,-0.45,1.99), (0.45,1.77,0.67,1.99), (0.45,1.77,0.67,1.99), (-0.11,2.505,0.11,2.725), (-0.11,2.505,0.11,2.725)])
R(pfet_03v3_gxth48, metal1, [(-0.17,-2.73,0.17,-2.5), (-0.17,-2.73,0.17,-2.5), (-0.675,-2.1,-0.445,2.1), (-0.675,-2.1,-0.445,2.1), (0.445,-2.1,0.675,2.1), (0.445,-2.1,0.675,2.1), (-0.17,2.5,0.17,2.73), (-0.17,2.5,0.17,2.73)])

a44_tg8_clock_leaf_w_r2 = lib.new_cell('A44_TG8_CLOCK_LEAF_W_R2')
R(a44_tg8_clock_leaf_w_r2, boundary, [(0,0,34,90)])
R(a44_tg8_clock_leaf_w_r2, nwell, [(0.4,46,33.6,82)])
R(a44_tg8_clock_leaf_w_r2, comp, [(0.7,8.6,33.3,9.3), (0.7,80.7,33.3,81.4)])
R(a44_tg8_clock_leaf_w_r2, pplus, [(0.675,8.575,33.325,9.325)])
R(a44_tg8_clock_leaf_w_r2, nplus, [(0.54,80.54,0.99,80.675), (33.01,80.54,33.46,80.675), (0.54,80.675,33.46,81.425), (0.54,81.425,0.99,81.56), (33.01,81.425,33.46,81.56)])
A(a44_tg8_clock_leaf_w_r2, contact, 0.91, 8.84, 0.22, 0.22, 69, 2, 0.47, 72.1)
R(a44_tg8_clock_leaf_w_r2, metal1, [(0.7,8.6,33.3,8.75), (0.7,8.75,33.6,9.15), (0.7,9.15,33.3,9.3), (2.725,16.44,2.955,19.8), (3.285,16.44,3.515,23.07), (3.845,16.44,4.075,19.8), (16.525,17.215,16.755,19.8), (17.085,17.215,17.315,22.295), (17.645,17.215,17.875,19.8), (7.325,17.995,7.555,19.8), (7.885,17.995,8.115,21.515), (8.445,17.995,8.675,19.8), (21.125,17.995,21.355,19.8), (21.685,17.995,21.915,21.515), (22.245,17.995,22.475,19.8), (25.725,18.38,25.955,19.8), (26.285,18.38,26.515,21.13), (26.845,18.38,27.075,19.8), (11.925,18.77,12.155,19.8), (12.485,18.77,12.715,20.74), (13.045,18.77,13.275,19.8), (30.325,18.77,30.555,19.8), (30.885,18.77,31.115,20.74), (31.445,18.77,31.675,19.8), (2.64,19.8,3.04,20.2), (3.76,19.8,4.16,20.2), (7.24,19.8,7.64,20.2), (8.36,19.8,8.76,20.2), (11.84,19.8,12.24,20.2), (12.96,19.8,13.36,20.2), (16.44,19.8,16.84,20.2), (17.56,19.8,17.96,20.2), (21.04,19.8,21.44,20.2), (22.16,19.8,22.56,20.2), (25.64,19.8,26.04,20.2), (26.76,19.8,27.16,20.2), (30.24,19.8,30.64,20.2), (31.36,19.8,31.76,20.2), (2.725,20.2,2.955,23.56), (3.845,20.2,4.075,23.56), (7.325,20.2,7.555,22.005), (8.445,20.2,8.675,22.005), (11.925,20.2,12.155,21.23), (13.045,20.2,13.275,21.23), (16.525,20.2,16.755,22.785), (17.645,20.2,17.875,22.785), (21.125,20.2,21.355,22.005), (22.245,20.2,22.475,22.005), (25.725,20.2,25.955,21.62), (26.845,20.2,27.075,21.62), (30.325,20.2,30.555,21.23), (31.445,20.2,31.675,21.23), (12.4,20.74,12.8,21.14), (30.8,20.74,31.2,21.14), (26.2,21.13,26.6,21.53), (12.485,21.14,12.715,21.23), (30.885,21.14,31.115,21.23), (7.8,21.515,8.2,21.915), (21.6,21.515,22,21.915), (26.285,21.53,26.515,21.62), (7.885,21.915,8.115,22.005), (21.685,21.915,21.915,22.005), (17,22.295,17.4,22.695), (17.085,22.695,17.315,22.785), (3.2,23.07,3.6,23.47), (3.285,23.47,3.515,23.56), (2.725,58.33,2.955,64.8), (3.285,58.33,3.515,71.3), (3.845,58.33,4.075,64.8), (16.525,59.885,16.755,64.8), (17.085,59.885,17.315,69.745), (17.645,59.885,17.875,64.8), (7.325,61.44,7.555,64.8), (7.885,61.44,8.115,68.19), (8.445,61.44,8.675,64.8), (21.125,61.44,21.355,64.8), (21.685,61.44,21.915,68.19), (22.245,61.44,22.475,64.8), (25.725,62.215,25.955,64.8), (26.285,62.215,26.515,67.415), (26.845,62.215,27.075,64.8), (11.925,62.995,12.155,64.8), (12.485,62.995,12.715,66.635), (13.045,62.995,13.275,64.8), (30.325,62.995,30.555,64.8), (30.885,62.995,31.115,66.635), (31.445,62.995,31.675,64.8), (2.64,64.8,3.04,65.2), (3.76,64.8,4.16,65.2), (7.24,64.8,7.64,65.2), (8.36,64.8,8.76,65.2), (11.84,64.8,12.24,65.2), (12.96,64.8,13.36,65.2), (16.44,64.8,16.84,65.2), (17.56,64.8,17.96,65.2), (21.04,64.8,21.44,65.2), (22.16,64.8,22.56,65.2), (25.64,64.8,26.04,65.2), (26.76,64.8,27.16,65.2), (30.24,64.8,30.64,65.2), (31.36,64.8,31.76,65.2), (2.725,65.2,2.955,71.67), (3.845,65.2,4.075,71.67), (7.325,65.2,7.555,68.56), (8.445,65.2,8.675,68.56), (11.925,65.2,12.155,67.005), (13.045,65.2,13.275,67.005), (16.525,65.2,16.755,70.115), (17.645,65.2,17.875,70.115), (21.125,65.2,21.355,68.56), (22.245,65.2,22.475,68.56), (25.725,65.2,25.955,67.785), (26.845,65.2,27.075,67.785), (30.325,65.2,30.555,67.005), (31.445,65.2,31.675,67.005), (12.4,66.635,12.8,67.035), (30.8,66.635,31.2,67.035), (26.2,67.415,26.6,67.815), (7.8,68.19,8.2,68.59), (21.6,68.19,22,68.59), (17,69.745,17.4,70.145), (3.2,71.3,3.6,71.7), (0.7,80.7,33.3,80.85), (0.7,80.85,33.6,81.25), (0.7,81.25,33.3,81.4)])
R(a44_tg8_clock_leaf_w_r2, via1, [(1.07,8.82,1.33,9.08), (33.27,8.82,33.53,9.08), (2.71,19.87,2.97,20.13), (3.83,19.87,4.09,20.13), (7.31,19.87,7.57,20.13), (8.43,19.87,8.69,20.13), (11.91,19.87,12.17,20.13), (13.03,19.87,13.29,20.13), (16.51,19.87,16.77,20.13), (17.63,19.87,17.89,20.13), (21.11,19.87,21.37,20.13), (22.23,19.87,22.49,20.13), (25.71,19.87,25.97,20.13), (26.83,19.87,27.09,20.13), (30.31,19.87,30.57,20.13), (31.43,19.87,31.69,20.13), (12.47,20.81,12.73,21.07), (30.87,20.81,31.13,21.07), (26.27,21.2,26.53,21.46), (7.87,21.585,8.13,21.845), (21.67,21.585,21.93,21.845), (17.07,22.365,17.33,22.625), (3.27,23.14,3.53,23.4), (2.71,64.87,2.97,65.13), (3.83,64.87,4.09,65.13), (7.31,64.87,7.57,65.13), (8.43,64.87,8.69,65.13), (11.91,64.87,12.17,65.13), (13.03,64.87,13.29,65.13), (16.51,64.87,16.77,65.13), (17.63,64.87,17.89,65.13), (21.11,64.87,21.37,65.13), (22.23,64.87,22.49,65.13), (25.71,64.87,25.97,65.13), (26.83,64.87,27.09,65.13), (30.31,64.87,30.57,65.13), (31.43,64.87,31.69,65.13), (12.47,66.705,12.73,66.965), (30.87,66.705,31.13,66.965), (26.27,67.485,26.53,67.745), (7.87,68.26,8.13,68.52), (21.67,68.26,21.93,68.52), (17.07,69.815,17.33,70.075), (3.27,71.37,3.53,71.63), (1.07,80.92,1.33,81.18), (33.27,80.92,33.53,81.18)])
A(a44_tg8_clock_leaf_w_r2, metal2, 1.88, 3.78, 0.44, 0.44, 7, 2, 4.6, 82)
A(a44_tg8_clock_leaf_w_r2, metal2, 1.9, 4.22, 0.4, 15.58, 7, 1, 4.6, 0)
A(a44_tg8_clock_leaf_w_r2, metal2, 4.48, 19.78, 0.44, 0.02, 7, 2, 4.6, 0.42)
A(a44_tg8_clock_leaf_w_r2, metal2, 1.9, 19.8, 1.14, 0.2, 7, 2, 4.6, 45.2)
A(a44_tg8_clock_leaf_w_r2, metal2, 3.76, 19.8, 1.16, 0.4, 7, 2, 4.6, 45)
A(a44_tg8_clock_leaf_w_r2, metal2, 2.1, 20, 0.94, 0.2, 7, 2, 4.6, 44.8)
A(a44_tg8_clock_leaf_w_r2, metal2, 4.48, 64.78, 0.44, 0.02, 7, 2, 4.6, 0.42)
A(a44_tg8_clock_leaf_w_r2, metal2, 1.9, 65.2, 0.4, 20.58, 7, 1, 4.6, 0)
R(a44_tg8_clock_leaf_w_r2, metal2, [(0.98,3.78,1.42,4.22), (32.08,3.78,32.52,4.22), (33.18,3.78,33.62,4.22), (1,4.22,1.4,9.15), (33.2,4.22,33.6,9.15), (12.38,20.72,12.82,21.16), (30.78,20.72,31.22,21.16), (26.18,21.11,26.62,21.55), (7.78,21.495,8.22,21.935), (21.58,21.495,22.02,21.935), (16.98,22.275,17.42,22.715), (3.18,23.05,3.62,23.49), (12.38,66.615,12.82,67.055), (30.78,66.615,31.22,67.055), (26.18,67.395,26.62,67.835), (7.78,68.17,8.22,68.61), (21.58,68.17,22.02,68.61), (16.98,69.725,17.42,70.165), (3.18,71.28,3.62,71.72), (1,80.85,1.4,85.78), (33.2,80.85,33.6,85.78), (0.98,85.78,1.42,86.22), (32.08,85.78,32.52,86.22), (33.18,85.78,33.62,86.22)])
A(a44_tg8_clock_leaf_w_r2, via2, 1.97, 3.87, 0.26, 0.26, 7, 2, 4.6, 82)
A(a44_tg8_clock_leaf_w_r2, via2, 4.57, 19.87, 0.26, 0.26, 7, 2, 4.6, 45)
R(a44_tg8_clock_leaf_w_r2, via2, [(1.07,3.87,1.33,4.13), (32.17,3.87,32.43,4.13), (33.27,3.87,33.53,4.13), (12.47,20.81,12.73,21.07), (30.87,20.81,31.13,21.07), (26.27,21.2,26.53,21.46), (7.87,21.585,8.13,21.845), (21.67,21.585,21.93,21.845), (17.07,22.365,17.33,22.625), (3.27,23.14,3.53,23.4), (12.47,66.705,12.73,66.965), (30.87,66.705,31.13,66.965), (26.27,67.485,26.53,67.745), (7.87,68.26,8.13,68.52), (21.67,68.26,21.93,68.52), (17.07,69.815,17.33,70.075), (3.27,71.37,3.53,71.63), (1.07,85.87,1.33,86.13), (32.17,85.87,32.43,86.13), (33.27,85.87,33.53,86.13)])
R(a44_tg8_clock_leaf_w_r2, via3, [(26.27,25.87,26.53,26.13), (32.17,25.87,32.43,26.13), (18.37,31.87,18.63,32.13), (21.67,33.87,21.93,34.13), (27.57,33.87,27.83,34.13), (17.07,41.87,17.33,42.13), (22.97,41.87,23.23,42.13), (12.47,43.87,12.73,44.13), (30.87,43.87,31.13,44.13), (7.87,47.87,8.13,48.13), (13.77,47.87,14.03,48.13), (3.27,51.87,3.53,52.13), (9.17,51.87,9.43,52.13), (4.57,55.87,4.83,56.13)])
A(a44_tg8_clock_leaf_w_r2, metal3, 4.48, 19.78, 0.44, 0.22, 7, 2, 4.6, 45.22)
A(a44_tg8_clock_leaf_w_r2, metal3, 4.45, 20, 0.5, 45, 7, 1, 4.6, 0)
R(a44_tg8_clock_leaf_w_r2, metal3, [(0,3.6,34,4.4), (12.38,20.72,12.82,20.94), (30.78,20.72,31.22,20.94), (12.35,20.94,12.85,66.835), (30.75,20.94,31.25,66.835), (26.18,21.11,26.62,21.33), (26.15,21.33,26.65,67.615), (7.78,21.495,8.22,21.715), (21.58,21.495,22.02,21.715), (7.75,21.715,8.25,68.39), (21.55,21.715,22.05,68.39), (16.98,22.275,17.42,22.495), (16.95,22.495,17.45,69.945), (3.18,23.05,3.62,23.27), (3.15,23.27,3.65,71.5), (12.38,66.835,12.82,67.055), (30.78,66.835,31.22,67.055), (26.18,67.615,26.62,67.835), (7.78,68.39,8.22,68.61), (21.58,68.39,22.02,68.61), (16.98,69.945,17.42,70.165), (3.18,71.5,3.62,71.72), (0,85.6,34,86.4)])
R(a44_tg8_clock_leaf_w_r2, metal3_pin, [(33.4,3.6,34,4.4), (33.4,85.6,34,86.4)])
R(a44_tg8_clock_leaf_w_r2, metal4, [(26.4,25.7,32.3,25.75), (26.15,25.75,32.55,26.25), (26.4,26.25,32.3,26.3), (0,31.7,18.5,31.75), (0,31.75,18.75,32.25), (0,32.25,18.5,32.3), (21.8,33.7,27.7,33.75), (21.55,33.75,27.95,34.25), (21.8,34.25,27.7,34.3), (17.2,41.7,23.1,41.75), (16.95,41.75,23.35,42.25), (17.2,42.25,23.1,42.3), (12.6,43.7,34,43.75), (12.35,43.75,34,44.25), (12.6,44.25,34,44.3), (8,47.7,13.9,47.75), (7.75,47.75,14.15,48.25), (8,48.25,13.9,48.3), (3.4,51.7,9.3,51.75), (3.15,51.75,9.55,52.25), (3.4,52.25,9.3,52.3), (0,55.7,4.7,55.75), (0,55.75,4.95,56.25), (0,56.25,4.7,56.3)])
R(a44_tg8_clock_leaf_w_r2, metal4_pin, [(0,31.7,0.6,32.3), (33.4,43.7,34,44.3), (0,55.7,0.6,56.3)])
R(a44_tg8_clock_leaf_w_r2, lvpwell, [(0.4,8,33.6,30.5)])
a44_tg8_clock_leaf_w_r2.add(gdstk.Reference(nfet_03v3_e6gd2a, (12.6,20)))
a44_tg8_clock_leaf_w_r2.add(gdstk.Reference(nfet_03v3_e6gd2a, (31,20)))
a44_tg8_clock_leaf_w_r2.add(gdstk.Reference(nfet_03v3_vfkxem, (8,20)))
a44_tg8_clock_leaf_w_r2.add(gdstk.Reference(nfet_03v3_vfkxem, (21.8,20)))
a44_tg8_clock_leaf_w_r2.add(gdstk.Reference(nfet_03v3_6lx9qf, (3.4,20)))
a44_tg8_clock_leaf_w_r2.add(gdstk.Reference(nfet_03v3_w4ua4g, (17.2,20)))
a44_tg8_clock_leaf_w_r2.add(gdstk.Reference(nfet_03v3_whe5hu, (26.4,20)))
a44_tg8_clock_leaf_w_r2.add(gdstk.Reference(pfet_03v3_8rs7kv, (3.4,65)))
a44_tg8_clock_leaf_w_r2.add(gdstk.Reference(pfet_03v3_ru7dmy, (12.6,65)))
a44_tg8_clock_leaf_w_r2.add(gdstk.Reference(pfet_03v3_ru7dmy, (31,65)))
a44_tg8_clock_leaf_w_r2.add(gdstk.Reference(pfet_03v3_9zjpmw, (8,65)))
a44_tg8_clock_leaf_w_r2.add(gdstk.Reference(pfet_03v3_9zjpmw, (21.8,65)))
a44_tg8_clock_leaf_w_r2.add(gdstk.Reference(pfet_03v3_53fb9w, (17.2,65)))
a44_tg8_clock_leaf_w_r2.add(gdstk.Reference(pfet_03v3_gxth48, (26.4,65)))
a44_tg8_clock_leaf_w_r2.add(gdstk.Label('net1', (29.35,26), layer=46, texttype=0))
a44_tg8_clock_leaf_w_r2.add(gdstk.Label('net2', (24.75,34), layer=46, texttype=0))
a44_tg8_clock_leaf_w_r2.add(gdstk.Label('net3', (20.15,42), layer=46, texttype=0))
a44_tg8_clock_leaf_w_r2.add(gdstk.Label('net4', (10.95,48), layer=46, texttype=0))
a44_tg8_clock_leaf_w_r2.add(gdstk.Label('net5', (6.35,52), layer=46, texttype=0))
a44_tg8_clock_leaf_w_r2.add(gdstk.Label('VDD', (33.7,86), layer=42, texttype=10))
a44_tg8_clock_leaf_w_r2.add(gdstk.Label('GND', (33.7,4), layer=42, texttype=10))
a44_tg8_clock_leaf_w_r2.add(gdstk.Label('CLKS', (33.7,44), layer=46, texttype=10))
a44_tg8_clock_leaf_w_r2.add(gdstk.Label('N_CLK', (0.3,32), layer=46, texttype=10))
a44_tg8_clock_leaf_w_r2.add(gdstk.Label('P_CLK', (0.3,56), layer=46, texttype=10))

a44_tg8_slice_w_r2 = lib.new_cell('A44_TG8_SLICE_W_R2')
R(a44_tg8_slice_w_r2, boundary, [(0,0,95,90)])
R(a44_tg8_slice_w_r2, metal3, [(94.4,3.6,95,4.4), (0,9.7,0.6,10.3), (0,79.7,0.6,80.3), (94.4,85.6,95,86.4)])
R(a44_tg8_slice_w_r2, metal3_pin, [(94.4,3.6,95,4.4), (0,9.7,0.6,10.3), (0,79.7,0.6,80.3), (94.4,85.6,95,86.4)])
R(a44_tg8_slice_w_r2, metal4, [(94.4,43.7,95,44.3)])
R(a44_tg8_slice_w_r2, metal4_pin, [(94.4,43.7,95,44.3)])
a44_tg8_slice_w_r2.add(gdstk.Reference(a44_tg8_core_w_r2, (0,0)))
a44_tg8_slice_w_r2.add(gdstk.Reference(a44_tg8_clock_leaf_w_r2, (61,0)))
a44_tg8_slice_w_r2.add(gdstk.Label('VDD', (94.7,86), layer=42, texttype=10))
a44_tg8_slice_w_r2.add(gdstk.Label('GND', (94.7,4), layer=42, texttype=10))
a44_tg8_slice_w_r2.add(gdstk.Label('VOUT', (0.3,80), layer=42, texttype=10))
a44_tg8_slice_w_r2.add(gdstk.Label('VIN', (0.3,10), layer=42, texttype=10))
a44_tg8_slice_w_r2.add(gdstk.Label('CLKS', (94.7,44), layer=46, texttype=10))

lib.write_gds('A44_TG8_SLICE_W_R2.gds')
